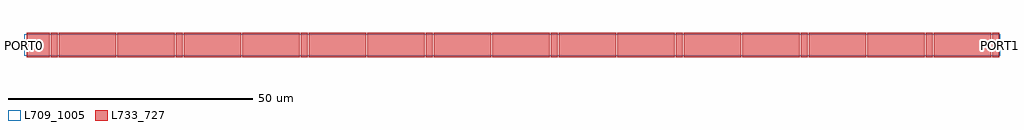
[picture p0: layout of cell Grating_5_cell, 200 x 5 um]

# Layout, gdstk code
import gdstk
lib = gdstk.Library(unit=1e-6, precision=1e-09)
def R(c, l, rs):  # rectangles x0, y0, x1, y1
    for r in rs: c.add(gdstk.rectangle(r[:2], r[2:], *l))
def A(c, l, x, y, w, h, nx, ny, dx, dy):  # array of equal rectangles
    R(c, l, [(x+i*dx, y+j*dy, x+i*dx+w, y+j*dy+h) for i in range(nx) for j in range(ny)])
L709_1005 = (709, 1005)
L733_727 = (733, 727)

grating_5_cell = lib.new_cell('Grating_5_cell')
R(grating_5_cell, L709_1005, [(0,-2.25,200,2.25)])
A(grating_5_cell, L733_727, 0.53, -2.5, 0.436, 5, 366, 1, 0.545, 0)
grating_5_cell.add(gdstk.Label('PORT0', (0,0), layer=1001, texttype=3))
grating_5_cell.add(gdstk.Label('PORT1', (200,0), layer=1001, texttype=3))
grating_5_cell.add(gdstk.Label('sub!', (0,0), layer=1002, texttype=6))

lib.write_gds('Grating_5_cell.gds')
